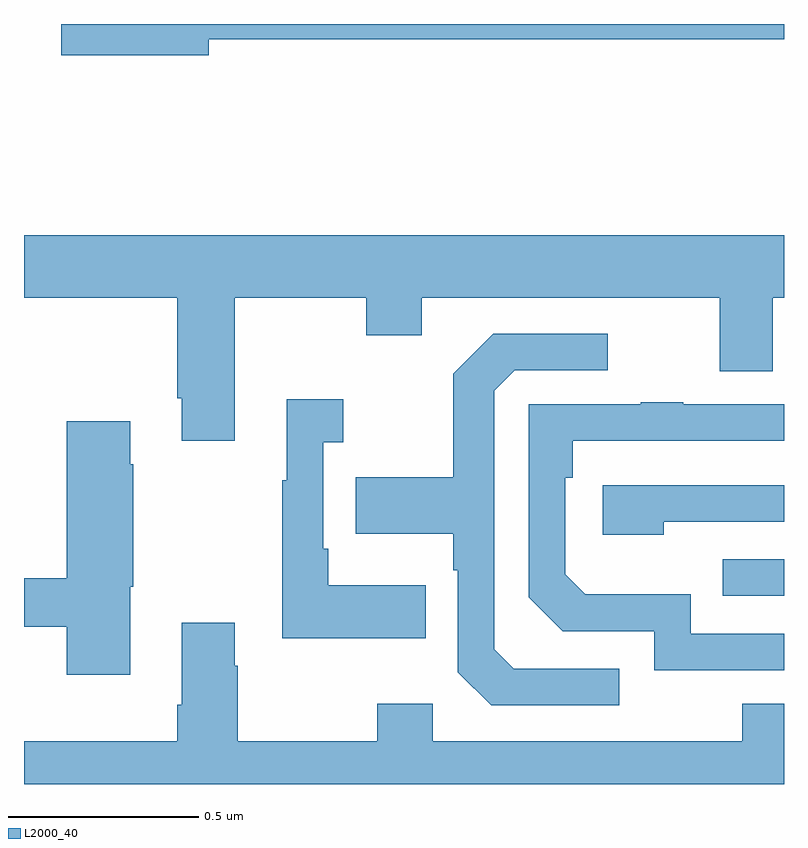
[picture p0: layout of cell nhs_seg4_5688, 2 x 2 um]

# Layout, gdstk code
import gdstk
lib = gdstk.Library(unit=1e-6, precision=1e-09)
def R(c, l, rs):  # rectangles x0, y0, x1, y1
    for r in rs: c.add(gdstk.rectangle(r[:2], r[2:], *l))
def P(c, l, *ps):  # polygons
    for p in ps: c.add(gdstk.Polygon(p, *l))
L2000_40 = (2000, 40)

nhs_seg4_5688 = lib.new_cell('nhs_seg4_5688')
R(nhs_seg4_5688, L2000_40, [(182.839,769.395,183,769.491)])
P(nhs_seg4_5688, L2000_40, [(181.486,770.86),(183,770.86),(183,770.9),(181.098,770.9),(181.098,770.818),(181.486,770.818)],
  [(181.555,770.18),(181.9,770.18),(181.9,770.081),(182.047,770.081),(182.047,770.18),(182.831,770.18),(182.831,769.986),(182.971,769.986),(182.971,770.18),(183,770.18),(183,770.344),(181,770.344),(181,770.18),(181.403,770.18),(181.403,769.915),(181.415,769.915),(181.415,769.803),(181.555,769.803)],
  [(182.566,769.203),(182.289,769.203),(182.238,769.254),(182.238,769.935),(182.292,769.989),(182.536,769.989),(182.536,770.085),(182.235,770.085),(182.13,769.979),(182.13,769.707),(181.873,769.707),(181.873,769.559),(182.13,769.559),(182.13,769.463),(182.142,769.463),(182.142,769.194),(182.229,769.107),(182.566,769.107)],
  [(182.057,769.423),(181.801,769.423),(181.801,769.519),(181.788,769.519),(181.788,769.799),(181.84,769.799),(181.84,769.912),(181.691,769.912),(181.691,769.699),(181.68,769.699),(181.68,769.283),(182.057,769.283)],
  [(183,769.296),(182.754,769.296),(182.754,769.399),(182.477,769.399),(182.424,769.452),(182.424,769.706),(182.444,769.706),(182.444,769.803),(183,769.803),(183,769.899),(182.735,769.899),(182.735,769.904),(182.623,769.904),(182.623,769.899),(182.328,769.899),(182.328,769.392),(182.418,769.302),(182.658,769.302),(182.658,769.2),(183,769.2)],
  [(181.279,769.419),(181.287,769.419),(181.287,769.742),(181.279,769.742),(181.279,769.855),(181.112,769.855),(181.112,769.442),(181,769.442),(181,769.314),(181.112,769.314),(181.112,769.188),(181.279,769.188)],
  [(182.684,769.59),(183,769.59),(183,769.686),(182.523,769.686),(182.523,769.556),(182.684,769.556)],
  [(183,769.111),(182.89,769.111),(182.89,769.012),(182.076,769.012),(182.076,769.111),(181.93,769.111),(181.93,769.012),(181.563,769.012),(181.563,769.211),(181.555,769.211),(181.555,769.324),(181.415,769.324),(181.415,769.108),(181.403,769.108),(181.403,769.012),(181,769.012),(181,768.9),(183,768.9)])

lib.write_gds('nhs_seg4_5688.gds')
